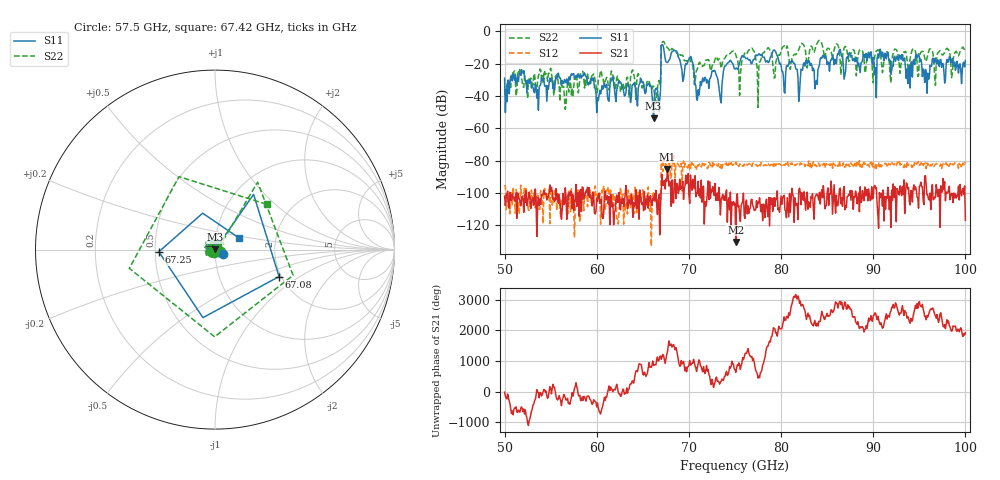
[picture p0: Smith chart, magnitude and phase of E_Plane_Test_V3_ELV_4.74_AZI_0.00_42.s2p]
! 11/26/2026 4:27:32 PM
! C:\ANRITSUVNA\TEMP\TEMP.S2P
! CHANNEL.1
! TR.MEASUREMENT
! RAW.DATA
# HZ S RI R 50.0
! FREQ.HZ  S11RE  S11IM  S21RE  S21IM  S12RE  S12IM  S22RE  S22IM
!; PortSelection: Port_12
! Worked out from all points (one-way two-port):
!   601 points, 50 GHz to 100 GHz, reference 50 ohm
!   highest |S21| = -85.18 dB at 67.67 GHz (marker M1); lowest = -130.5 dB at 75.08 GHz (marker M2)
!   lowest |S11| = -53.9 dB at 66.17 GHz (marker M3), VSWR 1.00, Z = 50.1 + j0.148 ohm
!   |S11| at or under -10 dB: start of sweep to 67 GHz; 67.25 GHz to end of sweep
!   |S22| runs from -48.3 to -5.6 dB; largest |S21 - S12| = 0.00014
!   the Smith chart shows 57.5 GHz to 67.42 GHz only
!   S11 on the Smith chart (normalised r, x): 57.5 GHz: 1.09, -0.05; 67.08 GHz: 1.95, -0.69; 67.25 GHz: 0.52, -0.01; 67.42 GHz: 1.29, +0.17
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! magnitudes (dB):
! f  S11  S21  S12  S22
! 50 GHz  -28.9  -102.1  -95.1  -35.5
! 57.5 GHz  -26.1  -110.9  -111.4  -34.6
! 58.42 GHz  -27.1  -96.3  -104.9  -24.8
! 60.17 GHz  -42.9  -101.1  -103.6  -30.3
! 66.17 GHz  -53.9  -104.5  -100.1  -34.0
! 66.67 GHz  -41.5  -104.5  -103.6  -31.6
! 67.08 GHz  -8.2  -88.6  -80.6  -6.8
! 67.25 GHz  -10.1  -95.2  -77.7  -6.2
! 67.42 GHz  -16.6  -97.6  -81.0  -8.3
! 67.67 GHz  -19.3  -85.2  -81.8  -10.2
! 70.25 GHz  -15.9  -94.0  -80.4  -18.7
! 70.92 GHz  -42.6  -100.4  -84.2  -23.2
! 75 GHz  -23.3  -106.3  -83.1  -12.9
! 75.08 GHz  -22.9  -130.5  -80.9  -14.5
! 79.25 GHz  -11.5  -103.0  -84.0  -28.8
! 80.25 GHz  -27.8  -102.1  -82.7  -9.3
! 83.42 GHz  -24.3  -100.5  -82.7  -10.8
! 91.67 GHz  -16.6  -102.9  -81.8  -15.2
! 93.75 GHz  -32.3  -97.6  -83.1  -21.2
! 94.83 GHz  -15.1  -103.0  -81.7  -27.9
! 95.83 GHz  -38.3  -101.3  -81.5  -16.5
! 100 GHz  -18.0  -116.9  -81.7  -12.5
